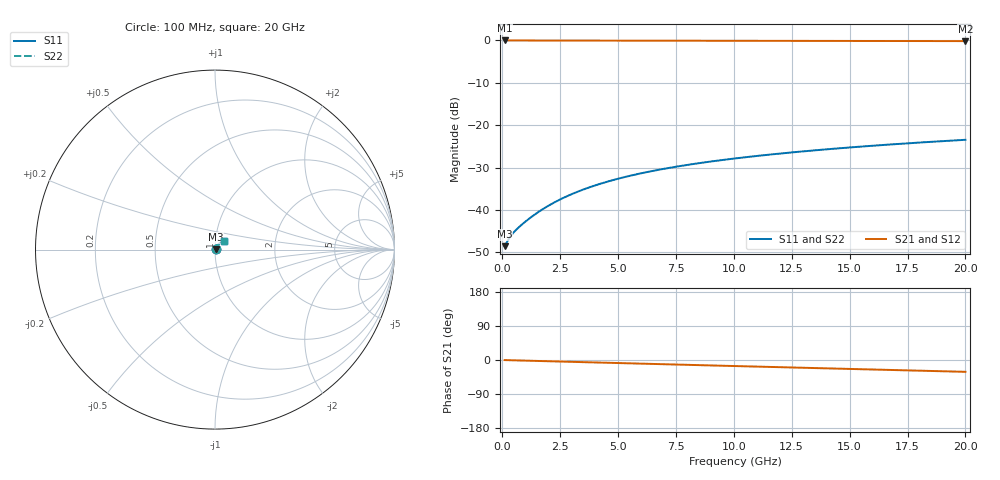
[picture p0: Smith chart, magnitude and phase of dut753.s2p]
! Touchstone file exported from HFSS 2026.1.0
!  File:  C:/ffzhzh/LocalFiles/Ansys_Project_Files/temp_train_BSMRDL_753_1783168893_51560.aedt
!  Generated:  08:42:40 PM Jul  4, 2026
!  Design:  BSMRDL
!  Project:  temp_train_BSMRDL_753_1783168893_51560
! Variables:
!  h_bsmrdl = 4.27um
!  h_ox = 20um
!  h_rdl = 5um
!  h_sub = 80um
!  h_tmrdl = 5um
!  h_tsv = 80um
!  h_via = 3um
!  l_bsmrdl = 563.94um
!  l_sub = 963.94um
!  l_tmrdl = 200um
!  m_sub = 200um
!  pitch = 18.25um
!  r_tsv = 6um
!  s_tmrdl = 10um
!  w_bsmrdl = 13.37um
!  w_sub = 500um
!  w_tmrdl = 12um
!  x_tsv_center1 = 206um
!  x_tsv_center2 = 783.31um
!  x_tsv_center3 = 995.31um
!  x_tsv_center4 = 1572.62um
!  x_tsv_center5 = 1784.62um
!  x_tsv_center6 = 2361.93um
# GHz S MA R 50.000000
! Terminal data exported
! Port[1] = BSM_RDL1_1_T1
! Port[2] = BSM_RDL1_1_T2
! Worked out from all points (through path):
!   200 points, 100 MHz to 20 GHz, reference 50 ohm
!   highest |S21| = -0.03 dB at 100 MHz (marker M1); lowest = -0.2 dB at 20 GHz (marker M2)
!   group delay of S21, straight-line fit = 4.32 ps
!   lowest |S11| = -48.6 dB at 100 MHz (marker M3), VSWR 1.01, Z = 50.4 + j0.0842 ohm
!   |S11| at or under -10 dB: start of sweep to end of sweep
!   |S22| runs from -48.6 to -23.5 dB; largest |S21 - S12| = 2.8e-15
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0.1  0.003734 12.9  0.9964 -0.2  0.9964 -0.2  0.003734 12.9
! Gamma 0 0 0 0
! Port Impedance 50 0 50 0
0.3  0.004648 27.0  0.9959 -0.5  0.9959 -0.5  0.004617 26.7
0.4  0.005077 30.6  0.9956 -0.7  0.9956 -0.7  0.005026 30.6
0.5  0.005466 33.6  0.9954 -0.9  0.9954 -0.9  0.005409 33.8
0.7  0.006191 38.7  0.9951 -1.2  0.9951 -1.2  0.006156 39.2
0.9  0.006912 43.0  0.9949 -1.5  0.9949 -1.5  0.006907 43.5
1.1  0.007654 46.5  0.9948 -1.8  0.9948 -1.8  0.007671 46.9
1.4  0.008811 50.7  0.9946 -2.3  0.9946 -2.3  0.008841 50.8
1.9  0.01082 55.3  0.9942 -3.1  0.9942 -3.1  0.01084 55.3
2.4  0.01287 58.0  0.9939 -3.9  0.9939 -3.9  0.01289 58.0
2.9  0.01494 59.6  0.9934 -4.7  0.9934 -4.7  0.01494 59.6
3.5  0.01739 60.6  0.9929 -5.7  0.9929 -5.7  0.01739 60.6
4.2  0.0202 60.9  0.9922 -6.8  0.9922 -6.8  0.0202 60.9
5  0.02332 60.7  0.9913 -8.1  0.9913 -8.1  0.02331 60.7
5.9  0.02668 60.0  0.9903 -9.5  0.9903 -9.5  0.02667 60.0
6.8  0.02989 59.1  0.9893 -10.9  0.9893 -10.9  0.02988 59.1
8.3  0.03494 57.4  0.9878 -13.3  0.9878 -13.3  0.03493 57.4
10.1  0.0406 55.2  0.9861 -16.0  0.9861 -16.0  0.04058 55.2
11.7  0.04534 53.2  0.9847 -18.5  0.9847 -18.5  0.04532 53.2
13.4  0.05015 51.1  0.9833 -21.1  0.9833 -21.1  0.05012 51.2
16.7  0.05894 47.0  0.9809 -26.2  0.9809 -26.2  0.05889 47.1
20  0.0671 42.8  0.9788 -31.2  0.9788 -31.2  0.06702 42.9
